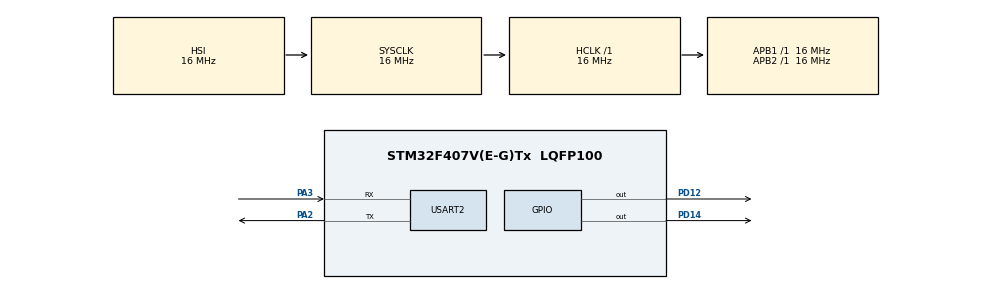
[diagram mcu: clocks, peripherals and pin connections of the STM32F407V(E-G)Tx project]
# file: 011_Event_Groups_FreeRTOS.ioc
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FREERTOS.Tasks01=ControlTask,0,128,ControlTaskHandler,Default,NULL,Dynamic,NULL,NULL;BatteryTask,0,128,BatteryTaskHandler,Default,NULL,Dynamic,NULL,NULL;GPSTask,0,128,GPSTaskHandler,Default,NULL,Dynamic,NULL,NULL
Mcu.Family=STM32F4
Mcu.Name=STM32F407V(E-G)Tx
Mcu.Package=LQFP100
NVIC.PriorityGroup=NVIC_PRIORITYGROUP_4
NVIC.TIM1_TRG_COM_TIM11_IRQn=true\:15\:0\:false\:false\:true\:false\:false\:true\:true
NVIC.TimeBase=TIM1_TRG_COM_TIM11_IRQn
NVIC.TimeBaseIP=TIM11
PA13.Mode=Serial_Wire
PA13.Signal=SYS_JTMS-SWDIO
PA14.Mode=Serial_Wire
PA14.Signal=SYS_JTCK-SWCLK
PA2.Mode=Asynchronous
PA2.Signal=USART2_TX
PA3.Mode=Asynchronous
PA3.Signal=USART2_RX
PD12.Signal=GPIO_Output
PD14.Signal=GPIO_Output
PH0-OSC_IN.Mode=HSE-External-Oscillator
PH0-OSC_IN.Signal=RCC_OSC_IN
PH1-OSC_OUT.Mode=HSE-External-Oscillator
PH1-OSC_OUT.Signal=RCC_OSC_OUT
ProjectManager.HeapSize=0x200
ProjectManager.StackSize=0x400
ProjectManager.TargetToolchain=STM32CubeIDE
RCC.AHBFreq_Value=16000000
RCC.APB1Freq_Value=16000000
RCC.APB2Freq_Value=16000000
RCC.CortexFreq_Value=16000000
RCC.HSE_VALUE=25000000
RCC.HSI_VALUE=16000000
RCC.LSE_VALUE=32768
RCC.SYSCLKFreq_VALUE=16000000
RCC.VCOOutputFreq_Value=192000000
USART2.VirtualMode=VM_ASYNC
VP_FREERTOS_VS_CMSIS_V1.Mode=CMSIS_V1
VP_SYS_VS_tim11.Mode=TIM11
board=custom

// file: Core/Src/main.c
/* USER CODE BEGIN Header */
/**
  ******************************************************************************
  * @file           : main.c
  * @brief          : Main program body
  ******************************************************************************
  * @attention
  *
  * Copyright (c) 2026 STMicroelectronics.
  * All rights reserved.
  *
  * This software is licensed under terms that can be found in the LICENSE file
  * in the root directory of this software component.
  * If no LICENSE file comes with this software, it is provided AS-IS.
  *
  ******************************************************************************
  */
/* USER CODE END Header */
#include "main.h"
#include "cmsis_os.h"

/* USER CODE BEGIN Includes */
#include "event_groups.h"
#include <stdio.h>
#include <string.h>

/* USER CODE END Includes */

UART_HandleTypeDef huart2;

osThreadId ControlTaskHandle;
osThreadId BatteryTaskHandle;
osThreadId GPSTaskHandle;
/* USER CODE BEGIN PV */
EventGroupHandle_t myEventGroup;
#define BIT_BATTERY_OK  (1 << 0) // 0. Bit: Batarya Durumu
#define BIT_GPS_OK      (1 << 1) // 1. Bit: GPS Durumu

/* USER CODE END PV */

void SystemClock_Config(void);
static void MX_GPIO_Init(void);
static void MX_USART2_UART_Init(void);
void ControlTaskHandler(void const * argument);
void BatteryTaskHandler(void const * argument);
void GPSTaskHandler(void const * argument);

/* USER CODE BEGIN 0 */
void printLog(char *msg)
{
    HAL_UART_Transmit(&huart2, (uint8_t*)msg, strlen(msg), 100);
}

/* USER CODE END 0 */

int main(void)
{

  /* MCU Configuration--------------------------------------------------------*/

  /* Reset of all peripherals, Initializes the Flash interface and the Systick. */
  HAL_Init();

  /* Configure the system clock */
  SystemClock_Config();

  /* Initialize all configured peripherals */
  MX_GPIO_Init();
  MX_USART2_UART_Init();
  /* USER CODE BEGIN 2 */
  myEventGroup = xEventGroupCreate();

  if(myEventGroup == NULL)
  {
      HAL_UART_Transmit(&huart2, (uint8_t*)"Event Group Error!\r\n", 20, 100);
  }

  /* USER CODE END 2 */

  /* Create the thread(s) */
  /* definition and creation of ControlTask */
  osThreadDef(ControlTask, ControlTaskHandler, osPriorityNormal, 0, 128);
  ControlTaskHandle = osThreadCreate(osThread(ControlTask), NULL);

  /* definition and creation of BatteryTask */
  osThreadDef(BatteryTask, BatteryTaskHandler, osPriorityNormal, 0, 128);
  BatteryTaskHandle = osThreadCreate(osThread(BatteryTask), NULL);

  /* definition and creation of GPSTask */
  osThreadDef(GPSTask, GPSTaskHandler, osPriorityNormal, 0, 128);
  GPSTaskHandle = osThreadCreate(osThread(GPSTask), NULL);

  /* Start scheduler */
  osKernelStart();

  /* We should never get here as control is now taken by the scheduler */

  /* Infinite loop */
  while (1)
  {

  }
}

void SystemClock_Config(void)
{
  RCC_OscInitTypeDef RCC_OscInitStruct = {0};
  RCC_ClkInitTypeDef RCC_ClkInitStruct = {0};

  /** Configure the main internal regulator output voltage
  */
  __HAL_RCC_PWR_CLK_ENABLE();
  __HAL_PWR_VOLTAGESCALING_CONFIG(PWR_REGULATOR_VOLTAGE_SCALE1);

  /** Initializes the RCC Oscillators according to the specified parameters
  * in the RCC_OscInitTypeDef structure.
  */
  RCC_OscInitStruct.OscillatorType = RCC_OSCILLATORTYPE_HSI;
  RCC_OscInitStruct.HSIState = RCC_HSI_ON;
  RCC_OscInitStruct.HSICalibrationValue = RCC_HSICALIBRATION_DEFAULT;
  RCC_OscInitStruct.PLL.PLLState = RCC_PLL_NONE;
  if (HAL_RCC_OscConfig(&RCC_OscInitStruct) != HAL_OK)
  {
    Error_Handler();
  }

  /** Initializes the CPU, AHB and APB buses clocks
  */
  RCC_ClkInitStruct.ClockType = RCC_CLOCKTYPE_HCLK|RCC_CLOCKTYPE_SYSCLK
                              |RCC_CLOCKTYPE_PCLK1|RCC_CLOCKTYPE_PCLK2;
  RCC_ClkInitStruct.SYSCLKSource = RCC_SYSCLKSOURCE_HSI;
  RCC_ClkInitStruct.AHBCLKDivider = RCC_SYSCLK_DIV1;
  RCC_ClkInitStruct.APB1CLKDivider = RCC_HCLK_DIV1;
  RCC_ClkInitStruct.APB2CLKDivider = RCC_HCLK_DIV1;

  if (HAL_RCC_ClockConfig(&RCC_ClkInitStruct, FLASH_LATENCY_0) != HAL_OK)
  {
    Error_Handler();
  }
}

static void MX_USART2_UART_Init(void)
{

  huart2.Instance = USART2;
  huart2.Init.BaudRate = 115200;
  huart2.Init.WordLength = UART_WORDLENGTH_8B;
  huart2.Init.StopBits = UART_STOPBITS_1;
  huart2.Init.Parity = UART_PARITY_NONE;
  huart2.Init.Mode = UART_MODE_TX_RX;
  huart2.Init.HwFlowCtl = UART_HWCONTROL_NONE;
  huart2.Init.OverSampling = UART_OVERSAMPLING_16;
  if (HAL_UART_Init(&huart2) != HAL_OK)
  {
    Error_Handler();
  }

}

static void MX_GPIO_Init(void)
{
  GPIO_InitTypeDef GPIO_InitStruct = {0};

  /* GPIO Ports Clock Enable */
  __HAL_RCC_GPIOH_CLK_ENABLE();
  __HAL_RCC_GPIOA_CLK_ENABLE();
  __HAL_RCC_GPIOD_CLK_ENABLE();

  /*Configure GPIO pin Output Level */
  HAL_GPIO_WritePin(GPIOD, GPIO_PIN_12|GPIO_PIN_14, GPIO_PIN_RESET);

  /*Configure GPIO pins : PD12 PD14 */
  GPIO_InitStruct.Pin = GPIO_PIN_12|GPIO_PIN_14;
  GPIO_InitStruct.Mode = GPIO_MODE_OUTPUT_PP;
  GPIO_InitStruct.Pull = GPIO_NOPULL;
  GPIO_InitStruct.Speed = GPIO_SPEED_FREQ_LOW;
  HAL_GPIO_Init(GPIOD, &GPIO_InitStruct);

}

void ControlTaskHandler(void const * argument)
{
  /* USER CODE BEGIN 5 */
	EventBits_t uxBits;
	  const TickType_t xTicksToWait = portMAX_DELAY;
  /* Infinite loop */
  for(;;)
  {
	  printLog("[SYSTEM] Kalkis icin sartlar bekleniyor (Batarya + GPS)...\r\n");

	      uxBits = xEventGroupWaitBits(
	              myEventGroup,
	              BIT_BATTERY_OK | BIT_GPS_OK,
	              pdTRUE,
	              pdTRUE,
	              xTicksToWait);

	      if((uxBits & (BIT_BATTERY_OK | BIT_GPS_OK)) == (BIT_BATTERY_OK | BIT_GPS_OK))
	      {
	          printLog("[SUCCESS] Sartlar saglandi! Motorlar ARM ediliyor, KALKIS SERBEST.\r\n");

	          HAL_GPIO_WritePin(GPIOD, GPIO_PIN_12, GPIO_PIN_SET);
	          osDelay(2000);
	          HAL_GPIO_WritePin(GPIOD, GPIO_PIN_12, GPIO_PIN_RESET);
	      }
  }
  /* USER CODE END 5 */
}

void BatteryTaskHandler(void const * argument)
{
  /* USER CODE BEGIN BatteryTaskHandler */
  /* Infinite loop */
  for(;;)
  {
	  osDelay(3000);
	      printLog("[INFO] Batarya Voltaji OK. Bit set ediliyor...\r\n");

	      xEventGroupSetBits(myEventGroup, BIT_BATTERY_OK);

	      osDelay(10000);
  }
  /* USER CODE END BatteryTaskHandler */
}

void GPSTaskHandler(void const * argument)
{
  /* USER CODE BEGIN GPSTaskHandler */
  /* Infinite loop */
  for(;;)
  {
	  osDelay(5000);
	      printLog("[INFO] GPS Sinyali OK. Bit set ediliyor...\r\n");

	      xEventGroupSetBits(myEventGroup, BIT_GPS_OK);

	      osDelay(10000);
  }
  /* USER CODE END GPSTaskHandler */
}

void HAL_TIM_PeriodElapsedCallback(TIM_HandleTypeDef *htim)
{
  if (htim->Instance == TIM11)
  {
    HAL_IncTick();
  }
}

void Error_Handler(void)
{
  __disable_irq();
  while (1)
  {
  }
}
